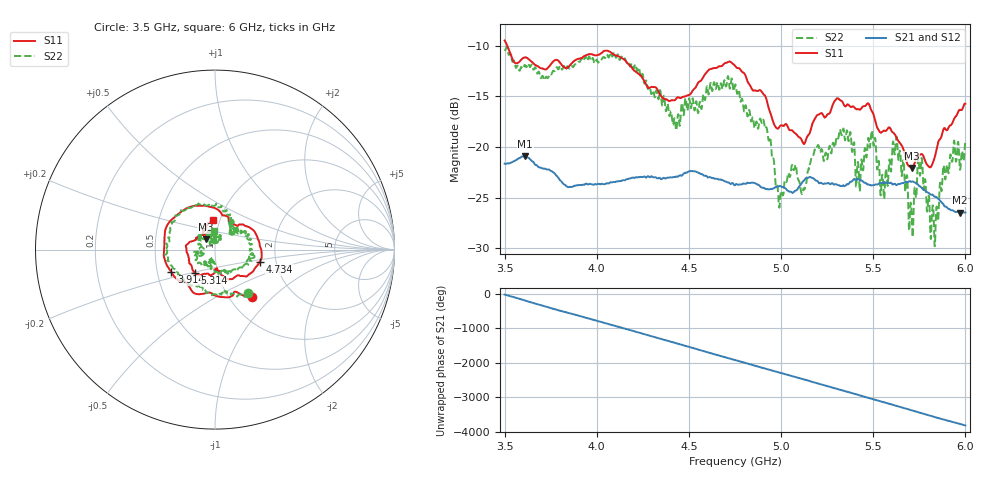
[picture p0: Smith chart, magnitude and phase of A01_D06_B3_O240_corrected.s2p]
! Created with skrf 1.9.0 (http://scikit-rf.org).
# Hz S RI R 50.0
!freq ReS11 ImS11 ReS21 ImS21 ReS12 ImS12 ReS22 ImS22
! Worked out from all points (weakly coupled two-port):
!   1601 points, 3.5 GHz to 6 GHz, reference 50 ohm
!   highest |S21| = -20.92 dB at 3.611 GHz (marker M1); lowest = -26.5 dB at 5.97 GHz (marker M2)
!   lowest |S11| = -22.1 dB at 5.709 GHz (marker M3), VSWR 1.17, Z = 44.7 + j5.26 ohm
!   |S11| at or under -10 dB: 3.514 GHz to end of sweep
!   |S22| runs from -29.8 to -10.1 dB; largest |S21 - S12| = 0.00097
!   S11 on the Smith chart (normalised r, x): 3.5 GHz: 1.27, -0.76; 3.914 GHz: 0.59, -0.16; 4.734 GHz: 1.65, -0.24; 5.314 GHz: 0.77, -0.21; 6 GHz: 0.93, +0.31
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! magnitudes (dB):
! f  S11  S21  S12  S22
! 3.5 GHz  -9.5  -21.7  -21.6  -10.4
! 3.611 GHz  -11.2  -20.9  -20.9  -11.9
! 3.914 GHz  -11.2  -23.8  -23.7  -11.4
! 3.917 GHz  -11.2  -23.8  -23.7  -11.3
! 4.334 GHz  -14.5  -23.1  -23.0  -15.3
! 4.423 GHz  -15.4  -23.0  -22.9  -17.2
! 4.734 GHz  -11.7  -23.6  -23.6  -13.4
! 4.75 GHz  -12.0  -23.8  -23.7  -13.9
! 4.912 GHz  -14.9  -24.1  -24.1  -18.1
! 4.997 GHz  -17.9  -23.9  -23.8  -24.7
! 5.167 GHz  -17.9  -23.1  -23.0  -21.0
! 5.314 GHz  -15.3  -23.8  -23.7  -18.8
! 5.417 GHz  -16.3  -23.2  -23.2  -21.5
! 5.484 GHz  -16.1  -23.8  -23.7  -19.7
! 5.548 GHz  -18.5  -23.6  -23.5  -22.8
! 5.584 GHz  -18.1  -23.6  -23.5  -22.0
! 5.634 GHz  -19.4  -23.7  -23.6  -20.9
! 5.709 GHz  -22.1  -23.4  -23.4  -27.1
! 5.753 GHz  -20.8  -23.9  -23.8  -22.9
! 5.823 GHz  -21.6  -24.7  -24.7  -25.8
! 5.97 GHz  -16.3  -26.5  -26.5  -22.3
! 6 GHz  -15.7  -26.5  -26.4  -19.5
